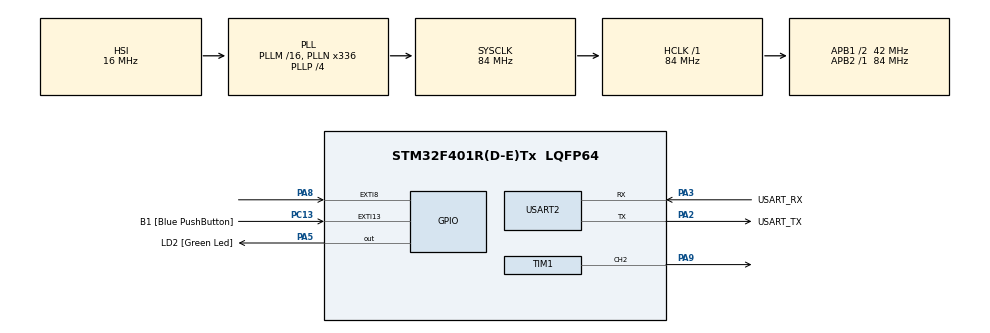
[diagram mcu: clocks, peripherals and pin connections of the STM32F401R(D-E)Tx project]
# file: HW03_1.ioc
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Mcu.Family=STM32F4
Mcu.Name=STM32F401R(D-E)Tx
Mcu.Package=LQFP64
NVIC.EXTI9_5_IRQn=true\:0\:0\:false\:false\:true\:true\:true\:true
NVIC.PriorityGroup=NVIC_PRIORITYGROUP_4
PA13.GPIO_Label=TMS
PA13.Mode=Trace_Asynchronous_SW
PA13.Signal=SYS_JTMS-SWDIO
PA14.GPIO_Label=TCK
PA14.Mode=Trace_Asynchronous_SW
PA14.Signal=SYS_JTCK-SWCLK
PA2.GPIO_Label=USART_TX
PA2.GPIO_Mode=GPIO_MODE_AF_PP
PA2.GPIO_PuPd=GPIO_NOPULL
PA2.GPIO_Speed=GPIO_SPEED_FREQ_LOW
PA2.Mode=Asynchronous
PA2.Signal=USART2_TX
PA3.GPIO_Label=USART_RX
PA3.GPIO_Mode=GPIO_MODE_AF_PP
PA3.GPIO_PuPd=GPIO_NOPULL
PA3.GPIO_Speed=GPIO_SPEED_FREQ_LOW
PA3.Mode=Asynchronous
PA3.Signal=USART2_RX
PA5.GPIO_Label=LD2 [Green Led]
PA5.GPIO_Mode=GPIO_MODE_OUTPUT_PP
PA5.GPIO_PuPd=GPIO_NOPULL
PA5.GPIO_Speed=GPIO_SPEED_FREQ_LOW
PA5.Signal=GPIO_Output
PA8.Signal=GPXTI8
PA9.Signal=S_TIM1_CH2
PB3.GPIO_Label=SWO
PB3.Mode=Trace_Asynchronous_SW
PB3.Signal=SYS_JTDO-SWO
PC13-ANTI_TAMP.GPIO_Label=B1 [Blue PushButton]
PC13-ANTI_TAMP.GPIO_ModeDefaultEXTI=GPIO_MODE_IT_FALLING
PC13-ANTI_TAMP.GPIO_PuPd=GPIO_NOPULL
PC13-ANTI_TAMP.Signal=GPXTI13
PC14-OSC32_IN.Mode=LSE-External-Oscillator
PC14-OSC32_IN.Signal=RCC_OSC32_IN
PC15-OSC32_OUT.Mode=LSE-External-Oscillator
PC15-OSC32_OUT.Signal=RCC_OSC32_OUT
PH0\ -\ OSC_IN.Mode=HSE-External-Clock-Source
PH0\ -\ OSC_IN.Signal=RCC_OSC_IN
PH1\ -\ OSC_OUT.Mode=HSE-External-Clock-Source
PH1\ -\ OSC_OUT.Signal=RCC_OSC_OUT
ProjectManager.HeapSize=0x200
ProjectManager.StackSize=0x400
ProjectManager.TargetToolchain=STM32CubeIDE
RCC.48MHZClocksFreq_Value=48000000
RCC.AHBFreq_Value=84000000
RCC.APB1CLKDivider=RCC_HCLK_DIV2
RCC.APB1Freq_Value=42000000
RCC.APB1TimFreq_Value=84000000
RCC.APB2Freq_Value=84000000
RCC.APB2TimFreq_Value=84000000
RCC.CortexFreq_Value=84000000
RCC.HCLKFreq_Value=84000000
RCC.HSE_VALUE=8000000
RCC.HSI_VALUE=16000000
RCC.PLLN=336
RCC.PLLP=RCC_PLLP_DIV4
RCC.PLLQ=7
RCC.SYSCLKFreq_VALUE=84000000
RCC.SYSCLKSource=RCC_SYSCLKSOURCE_PLLCLK
RCC.VCOOutputFreq_Value=336000000
SH.S_TIM1_CH2.0=TIM1_CH2,PWM Generation2 CH2
TIM1.Channel-PWM\ Generation2\ CH2=TIM_CHANNEL_2
TIM1.Period=1909
TIM1.Prescaler=99
TIM1.Pulse-PWM\ Generation2\ CH2=954
USART2.VirtualMode=VM_ASYNC
VP_TIM1_VS_ClockSourceINT.Mode=Internal
board=NUCLEO-F401RE

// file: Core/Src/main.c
/* USER CODE BEGIN Header */
/**
  ******************************************************************************
  * @file           : main.c
  * @brief          : Main program body
  ******************************************************************************
  * @attention
  *
  * Copyright (c) 2026 STMicroelectronics.
  * All rights reserved.
  *
  * This software is licensed under terms that can be found in the LICENSE file
  * in the root directory of this software component.
  * If no LICENSE file comes with this software, it is provided AS-IS.
  *
  ******************************************************************************
  */
/* USER CODE END Header */
#include "main.h"

/* USER CODE BEGIN PTD */
// Definiamo una struttura "Note"
typedef struct {
    int Period;
    int Duration;
} Note;
/* USER CODE END PTD */

/* USER CODE BEGIN PD */
#define PeriodFA4 2405   // F4 = 349.23 Hz
#define PeriodLA4 1909   // A4 = 440.00 Hz
#define PeriodSI4 1701   // B4 = 493.88 Hz
#define PeriodDO5 1605   // C5 = 523.25 Hz
#define PeriodRE5 1430   // D5 = 587.33 Hz
#define PeriodMI5 1274   // E5 = 659.25 Hz

#define PORT_MCO GPIOA
#define PIN_MCO GPIO_PIN_8

#define DEBOUNCE_MS 500
/* USER CODE END PD */

TIM_HandleTypeDef htim1;

UART_HandleTypeDef huart2;

/* USER CODE BEGIN PV */
int i=0;
uint32_t delta = 0;
uint32_t tick = 0;
uint32_t last_tick = 0;

volatile uint8_t playing = 0; // flag

Note Song[] = {
		{PeriodMI5, 4},
		{PeriodLA4, 1},
		{PeriodSI4, 1},
		{PeriodDO5, 1},
		{PeriodRE5, 1},
		{PeriodMI5, 3},
		{PeriodDO5, 1},
		{PeriodMI5, 3},
		{PeriodDO5, 1},
		{PeriodMI5, 3},
		{PeriodLA4, 1},
		{PeriodDO5, 1},
		{PeriodLA4, 1},
		{PeriodFA4, 1},
		{PeriodDO5, 1},
		{PeriodLA4, 4}
};

int song_duration=sizeof(Song) / sizeof(Song[0]);

// DICHIARAZIONE GLOBALE PER LA CONFIGURAZIONE PWM (CRITICO!)
TIM_OC_InitTypeDef sConfigOC = {0};

/* USER CODE END PV */

void SystemClock_Config(void);
static void MX_GPIO_Init(void);
static void MX_USART2_UART_Init(void);
static void MX_TIM1_Init(void);

/* USER CODE BEGIN 0 */
void HAL_GPIO_EXTI_Callback(uint16_t GPIO_Pin)
{
    if (GPIO_Pin == PIN_MCO && !playing)
    {
        tick = HAL_GetTick();
        delta = tick - last_tick;
        if (delta >= DEBOUNCE_MS)
        {
            HAL_GPIO_TogglePin(GPIOA, GPIO_PIN_5);
            playing = 1;
        }
    }
}

void play_note(uint32_t Period, uint32_t Duration){

	// Aggiorna il Periodo (frequenza) nel registro del Timer
    // L'unica variabile da ri-inizializzare è quella di base (più veloce di HAL_TIM_Base_Init)
    // Usiamo una macro veloce che accede direttamente al registro
    __HAL_TIM_SET_AUTORELOAD(&htim1, Period - 1);

    // Aggiorna il Pulse (Duty Cycle) nella struct sConfigOC
    sConfigOC.OCMode = TIM_OCMODE_PWM1; // Modalità PWM
    sConfigOC.Pulse = Period / 2;       // Duty cycle al 50%
    sConfigOC.OCPolarity = TIM_OCPOLARITY_HIGH;
    sConfigOC.OCFastMode = TIM_OCFAST_DISABLE;

    // Applica la nuova configurazione del canale
    if (HAL_TIM_PWM_ConfigChannel(&htim1, &sConfigOC, TIM_CHANNEL_2) != HAL_OK)
    {
        Error_Handler();
    }

    // Fai suonare nota
	HAL_TIM_PWM_Start(&htim1, TIM_CHANNEL_2);
	HAL_Delay(Duration*250);
}

/* USER CODE END 0 */

int main(void)
{

  /* MCU Configuration--------------------------------------------------------*/

  /* Reset of all peripherals, Initializes the Flash interface and the Systick. */
  HAL_Init();

  /* Configure the system clock */
  SystemClock_Config();

  /* Initialize all configured peripherals */
  MX_GPIO_Init();
  MX_USART2_UART_Init();
  MX_TIM1_Init();

  /* Infinite loop */
  while (1)
  {

    /* USER CODE BEGIN 3 */
	  if(playing){

		  for(i=0;i<song_duration;i++){
			  play_note(Song[i].Period, Song[i].Duration);
		  }
		  playing=0;
		  HAL_TIM_PWM_Stop(&htim1, TIM_CHANNEL_2);
		  last_tick = HAL_GetTick(); // il tick parte da canzone finita
	  }
  }
  /* USER CODE END 3 */
}

void SystemClock_Config(void)
{
  RCC_OscInitTypeDef RCC_OscInitStruct = {0};
  RCC_ClkInitTypeDef RCC_ClkInitStruct = {0};

  /** Configure the main internal regulator output voltage
  */
  __HAL_RCC_PWR_CLK_ENABLE();
  __HAL_PWR_VOLTAGESCALING_CONFIG(PWR_REGULATOR_VOLTAGE_SCALE2);

  /** Initializes the RCC Oscillators according to the specified parameters
  * in the RCC_OscInitTypeDef structure.
  */
  RCC_OscInitStruct.OscillatorType = RCC_OSCILLATORTYPE_HSI;
  RCC_OscInitStruct.HSIState = RCC_HSI_ON;
  RCC_OscInitStruct.HSICalibrationValue = RCC_HSICALIBRATION_DEFAULT;
  RCC_OscInitStruct.PLL.PLLState = RCC_PLL_ON;
  RCC_OscInitStruct.PLL.PLLSource = RCC_PLLSOURCE_HSI;
  RCC_OscInitStruct.PLL.PLLM = 16;
  RCC_OscInitStruct.PLL.PLLN = 336;
  RCC_OscInitStruct.PLL.PLLP = RCC_PLLP_DIV4;
  RCC_OscInitStruct.PLL.PLLQ = 7;
  if (HAL_RCC_OscConfig(&RCC_OscInitStruct) != HAL_OK)
  {
    Error_Handler();
  }

  /** Initializes the CPU, AHB and APB buses clocks
  */
  RCC_ClkInitStruct.ClockType = RCC_CLOCKTYPE_HCLK|RCC_CLOCKTYPE_SYSCLK
                              |RCC_CLOCKTYPE_PCLK1|RCC_CLOCKTYPE_PCLK2;
  RCC_ClkInitStruct.SYSCLKSource = RCC_SYSCLKSOURCE_PLLCLK;
  RCC_ClkInitStruct.AHBCLKDivider = RCC_SYSCLK_DIV1;
  RCC_ClkInitStruct.APB1CLKDivider = RCC_HCLK_DIV2;
  RCC_ClkInitStruct.APB2CLKDivider = RCC_HCLK_DIV1;

  if (HAL_RCC_ClockConfig(&RCC_ClkInitStruct, FLASH_LATENCY_2) != HAL_OK)
  {
    Error_Handler();
  }
}

static void MX_TIM1_Init(void)
{

  TIM_ClockConfigTypeDef sClockSourceConfig = {0};
  TIM_MasterConfigTypeDef sMasterConfig = {0};
  TIM_OC_InitTypeDef sConfigOC = {0};
  TIM_BreakDeadTimeConfigTypeDef sBreakDeadTimeConfig = {0};

  htim1.Instance = TIM1;
  htim1.Init.Prescaler = 99;
  htim1.Init.CounterMode = TIM_COUNTERMODE_UP;
  htim1.Init.Period = 1909;
  htim1.Init.ClockDivision = TIM_CLOCKDIVISION_DIV1;
  htim1.Init.RepetitionCounter = 0;
  htim1.Init.AutoReloadPreload = TIM_AUTORELOAD_PRELOAD_DISABLE;
  if (HAL_TIM_Base_Init(&htim1) != HAL_OK)
  {
    Error_Handler();
  }
  sClockSourceConfig.ClockSource = TIM_CLOCKSOURCE_INTERNAL;
  if (HAL_TIM_ConfigClockSource(&htim1, &sClockSourceConfig) != HAL_OK)
  {
    Error_Handler();
  }
  if (HAL_TIM_PWM_Init(&htim1) != HAL_OK)
  {
    Error_Handler();
  }
  sMasterConfig.MasterOutputTrigger = TIM_TRGO_RESET;
  sMasterConfig.MasterSlaveMode = TIM_MASTERSLAVEMODE_DISABLE;
  if (HAL_TIMEx_MasterConfigSynchronization(&htim1, &sMasterConfig) != HAL_OK)
  {
    Error_Handler();
  }
  sConfigOC.OCMode = TIM_OCMODE_PWM1;
  sConfigOC.Pulse = 954;
  sConfigOC.OCPolarity = TIM_OCPOLARITY_HIGH;
  sConfigOC.OCNPolarity = TIM_OCNPOLARITY_HIGH;
  sConfigOC.OCFastMode = TIM_OCFAST_DISABLE;
  sConfigOC.OCIdleState = TIM_OCIDLESTATE_RESET;
  sConfigOC.OCNIdleState = TIM_OCNIDLESTATE_RESET;
  if (HAL_TIM_PWM_ConfigChannel(&htim1, &sConfigOC, TIM_CHANNEL_2) != HAL_OK)
  {
    Error_Handler();
  }
  sBreakDeadTimeConfig.OffStateRunMode = TIM_OSSR_DISABLE;
  sBreakDeadTimeConfig.OffStateIDLEMode = TIM_OSSI_DISABLE;
  sBreakDeadTimeConfig.LockLevel = TIM_LOCKLEVEL_OFF;
  sBreakDeadTimeConfig.DeadTime = 0;
  sBreakDeadTimeConfig.BreakState = TIM_BREAK_DISABLE;
  sBreakDeadTimeConfig.BreakPolarity = TIM_BREAKPOLARITY_HIGH;
  sBreakDeadTimeConfig.AutomaticOutput = TIM_AUTOMATICOUTPUT_DISABLE;
  if (HAL_TIMEx_ConfigBreakDeadTime(&htim1, &sBreakDeadTimeConfig) != HAL_OK)
  {
    Error_Handler();
  }
  HAL_TIM_MspPostInit(&htim1);

}

static void MX_USART2_UART_Init(void)
{

  huart2.Instance = USART2;
  huart2.Init.BaudRate = 115200;
  huart2.Init.WordLength = UART_WORDLENGTH_8B;
  huart2.Init.StopBits = UART_STOPBITS_1;
  huart2.Init.Parity = UART_PARITY_NONE;
  huart2.Init.Mode = UART_MODE_TX_RX;
  huart2.Init.HwFlowCtl = UART_HWCONTROL_NONE;
  huart2.Init.OverSampling = UART_OVERSAMPLING_16;
  if (HAL_UART_Init(&huart2) != HAL_OK)
  {
    Error_Handler();
  }

}

static void MX_GPIO_Init(void)
{
  GPIO_InitTypeDef GPIO_InitStruct = {0};

  /* GPIO Ports Clock Enable */
  __HAL_RCC_GPIOC_CLK_ENABLE();
  __HAL_RCC_GPIOH_CLK_ENABLE();
  __HAL_RCC_GPIOA_CLK_ENABLE();
  __HAL_RCC_GPIOB_CLK_ENABLE();

  /*Configure GPIO pin Output Level */
  HAL_GPIO_WritePin(LD2_GPIO_Port, LD2_Pin, GPIO_PIN_RESET);

  /*Configure GPIO pin : B1_Pin */
  GPIO_InitStruct.Pin = B1_Pin;
  GPIO_InitStruct.Mode = GPIO_MODE_IT_FALLING;
  GPIO_InitStruct.Pull = GPIO_NOPULL;
  HAL_GPIO_Init(B1_GPIO_Port, &GPIO_InitStruct);

  /*Configure GPIO pin : LD2_Pin */
  GPIO_InitStruct.Pin = LD2_Pin;
  GPIO_InitStruct.Mode = GPIO_MODE_OUTPUT_PP;
  GPIO_InitStruct.Pull = GPIO_NOPULL;
  GPIO_InitStruct.Speed = GPIO_SPEED_FREQ_LOW;
  HAL_GPIO_Init(LD2_GPIO_Port, &GPIO_InitStruct);

  /*Configure GPIO pin : PA8 */
  GPIO_InitStruct.Pin = GPIO_PIN_8;
  GPIO_InitStruct.Mode = GPIO_MODE_IT_RISING;
  GPIO_InitStruct.Pull = GPIO_NOPULL;
  HAL_GPIO_Init(GPIOA, &GPIO_InitStruct);

  /* EXTI interrupt init*/
  HAL_NVIC_SetPriority(EXTI9_5_IRQn, 0, 0);
  HAL_NVIC_EnableIRQ(EXTI9_5_IRQn);

}

void Error_Handler(void)
{
  __disable_irq();
  while (1)
  {
  }
}
